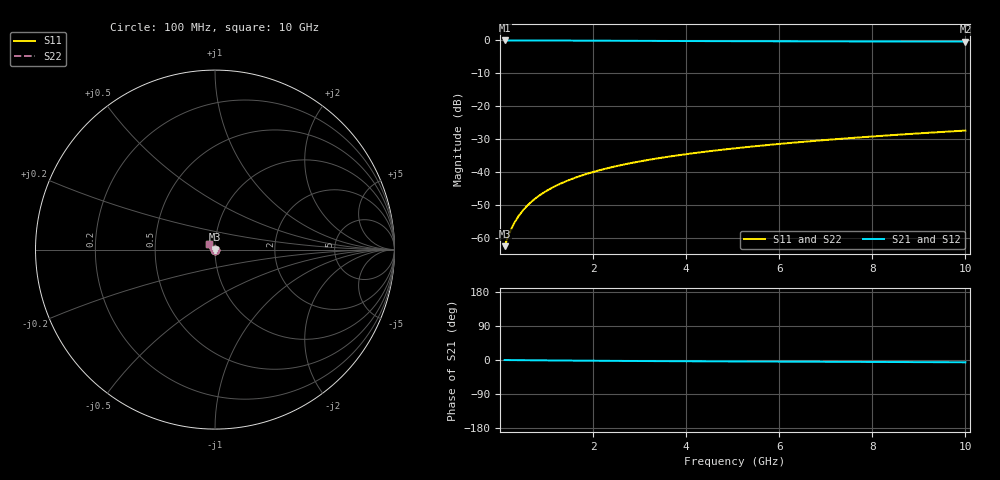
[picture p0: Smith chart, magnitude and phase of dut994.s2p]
! Touchstone file exported from HFSS 2024.1.0
!  File:  C:/UserFiles/LocalFiles/RDL_TSV_Batchsim/temp_TSV1_994_1779953055.aedt
!  Generated:  03:31:18 PM May 28, 2026
!  Design:  TSV1
!  Project:  temp_TSV1_994_1779953055
!  Setup:  Setup1
!  Solution:  Sweep
! Variables:
!  dtsv = 5.19um
!  hbump = 3um
!  htsv = 88.69um
!  lrdl = 252.1521522um
!  p = 40
!  p1 = 50.32um
!  t = 500um
!  trdl = 3um
!  wrdl = 24.89489489um
# GHz S MA R 50.000000
! Terminal data exported
! Port[1] = TSV22_T1
! Port[2] = TSV22_T2
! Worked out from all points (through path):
!   100 points, 100 MHz to 10 GHz, reference 50 ohm
!   highest |S21| = -0.01 dB at 100 MHz (marker M1); lowest = -0.3 dB at 10 GHz (marker M2)
!   lowest |S11| = -62.5 dB at 100 MHz (marker M3), VSWR 1.00, Z = 50.1 - j0.0535 ohm
!   |S11| at or under -10 dB: start of sweep to end of sweep
!   |S22| runs from -62.5 to -27.4 dB; largest |S21 - S12| = 3.3e-15
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0.1  0.0007522 -45.3  0.9994 -0.1  0.9994 -0.1  0.0007522 -45.3
! Gamma 0 0 0 0
! Port Impedance 50 0 50 0
0.2  0.001177 -66.6  0.9993 -0.2  0.9993 -0.2  0.001177 -66.6
0.3  0.001658 -77.6  0.9992 -0.3  0.9992 -0.3  0.001658 -77.6
0.4  0.002156 -84.8  0.999 -0.4  0.999 -0.4  0.002156 -84.8
0.5  0.002662 -90.2  0.9988 -0.5  0.9988 -0.5  0.002662 -90.2
0.6  0.00317 -94.6  0.9986 -0.6  0.9986 -0.6  0.00317 -94.6
0.7  0.003678 -98.5  0.9983 -0.7  0.9983 -0.7  0.003678 -98.5
0.9  0.004691 -105.2  0.9976 -1.0  0.9976 -1.0  0.004691 -105.2
1  0.005195 -108.3  0.9972 -1.1  0.9972 -1.1  0.005195 -108.3
1.2  0.006194 -114.0  0.9963 -1.3  0.9963 -1.3  0.006194 -114.0
1.5  0.007667 -121.8  0.9948 -1.5  0.9948 -1.5  0.007667 -121.8
1.8  0.009107 -129.1  0.993 -1.8  0.993 -1.8  0.009107 -129.1
2.1  0.01051 -135.9  0.9912 -2.0  0.9912 -2.0  0.01051 -135.9
2.5  0.01233 -144.3  0.9886 -2.3  0.9886 -2.3  0.01233 -144.3
2.9  0.0141 -152.0  0.9861 -2.6  0.9861 -2.6  0.0141 -152.0
3.4  0.01625 -160.8  0.983 -2.9  0.983 -2.9  0.01625 -160.8
4.2  0.01958 -173.0  0.9785 -3.4  0.9785 -3.4  0.01958 -173.0
5.1  0.02322 175.4  0.9743 -3.8  0.9743 -3.8  0.02322 175.4
5.9  0.02643 166.8  0.9712 -4.2  0.9712 -4.2  0.02642 166.8
6.7  0.02961 159.4  0.9686 -4.6  0.9686 -4.6  0.02961 159.4
8.4  0.0364 146.8  0.9643 -5.3  0.9643 -5.3  0.0364 146.8
10  0.04281 137.8  0.9614 -6.0  0.9614 -6.0  0.04281 137.8
